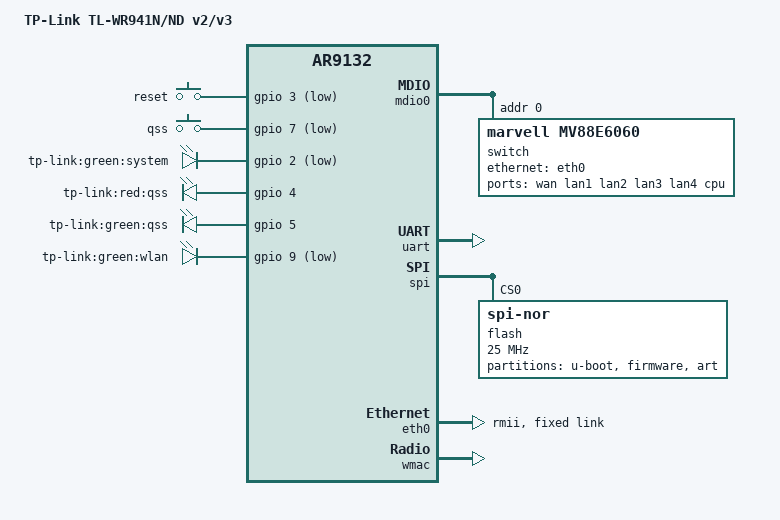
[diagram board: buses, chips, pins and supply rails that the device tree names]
// SPDX-License-Identifier: GPL-2.0-only

#include "ar9132.dtsi"

#include <dt-bindings/gpio/gpio.h>
#include <dt-bindings/input/input.h>

/ {
	compatible = "tplink,tl-wr941-v2", "qca,ar9132";
	model = "TP-Link TL-WR941N/ND v2/v3";

	aliases {
		led-boot = &led_system;
		led-failsafe = &led_system;
		led-running = &led_system;
		led-upgrade = &led_system;
		label-mac-device = &eth0;
	};

	keys {
		compatible = "gpio-keys";

		reset {
			label = "reset";
			linux,code = <KEY_RESTART>;
			gpios = <&gpio 3 GPIO_ACTIVE_LOW>;
			debounce-interval = <60>;
		};

		qss {
			label = "qss";
			linux,code = <KEY_WPS_BUTTON>;
			gpios = <&gpio 7 GPIO_ACTIVE_LOW>;
			debounce-interval = <60>;
		};
	};

	leds {
		compatible = "gpio-leds";

		led_system: system {
			label = "tp-link:green:system";
			gpios = <&gpio 2 GPIO_ACTIVE_LOW>;
		};

		qss_r {
			label = "tp-link:red:qss";
			gpios = <&gpio 4 GPIO_ACTIVE_HIGH>;
		};

		qss_g {
			label = "tp-link:green:qss";
			gpios = <&gpio 5 GPIO_ACTIVE_HIGH>;
		};

		wlan {
			label = "tp-link:green:wlan";
			gpios = <&gpio 9 GPIO_ACTIVE_LOW>;
			linux,default-trigger = "phy0tpt";
		};
	};
};

&mdio0 {
	status = "okay";

	switch@0 {
		compatible = "marvell,mv88e6060";
		reg = <0>;

		ports {
			#address-cells = <1>;
			#size-cells = <0>;

			port@0 {
				reg = <0>;
				label = "wan";
			};

			port@1 {
				reg = <1>;
				label = "lan1";
			};

			port@2 {
				reg = <2>;
				label = "lan2";
			};

			port@3 {
				reg = <3>;
				label = "lan3";
			};

			port@4 {
				reg = <4>;
				label = "lan4";
			};

			port@5 {
				reg = <5>;
				label = "cpu";
				ethernet = <&eth0>;
			};
		};
	};
};

&uart {
	status = "okay";
};

&spi {
	status = "okay";

	flash@0 {
		compatible = "jedec,spi-nor";
		reg = <0>;
		spi-max-frequency = <25000000>;

		partitions {
			compatible = "fixed-partitions";
			#address-cells = <1>;
			#size-cells = <1>;

			uboot: partition@0 {
				label = "u-boot";
				reg = <0x000000 0x20000>;
				read-only;
			};

			partition@20000 {
				compatible = "tplink,firmware";
				label = "firmware";
				reg = <0x020000 0x3d0000>;
			};

			art: partition@3f0000 {
				label = "art";
				reg = <0x3f0000 0x10000>;
				read-only;
			};
		};
	};
};

&eth0 {
	status = "okay";

	phy-mode = "rmii";
	mtd-mac-address = <&uboot 0x1fc00>;

	fixed-link {
		speed = <100>;
		full-duplex;
	};
};

&wmac {
	status = "okay";
	mtd-cal-data = <&art 0x1000>;
	mtd-mac-address = <&uboot 0x1fc00>;
};
